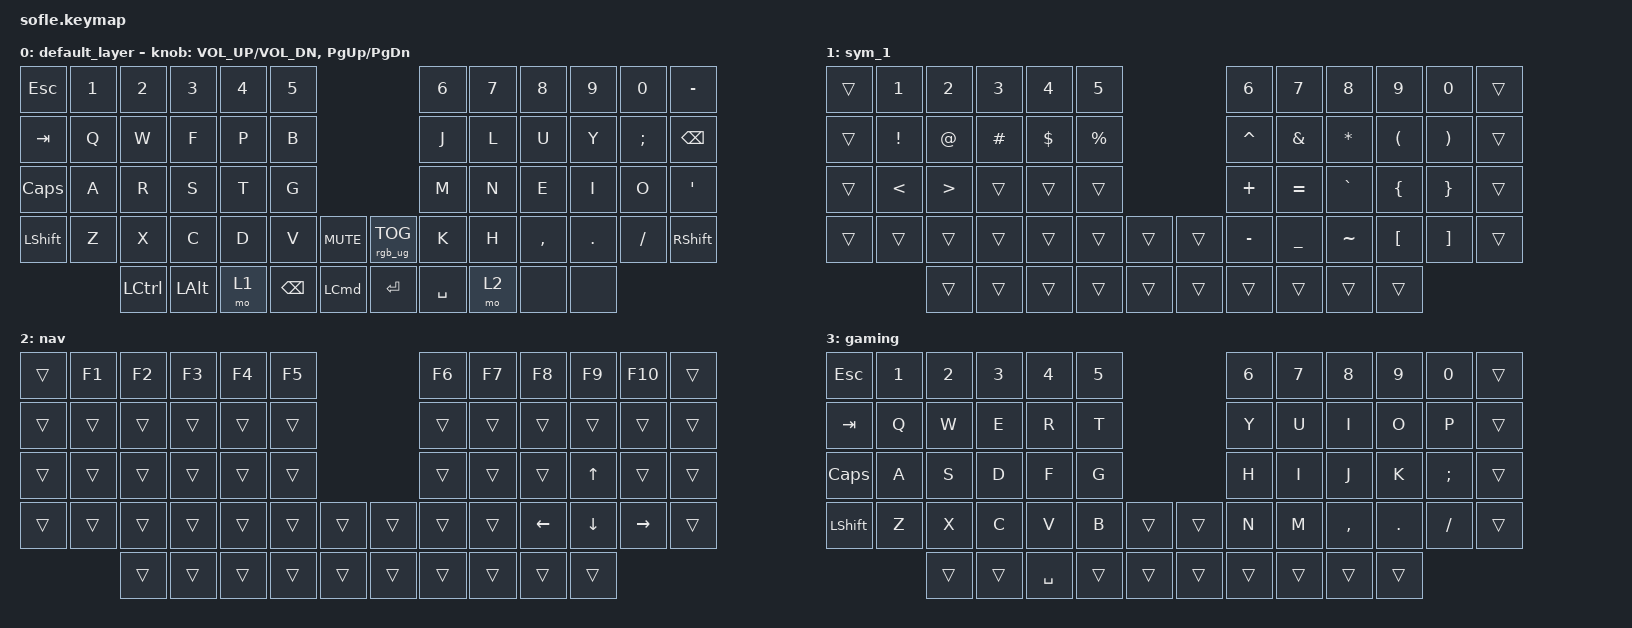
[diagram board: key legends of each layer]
/*
 * Copyright (c) 2020 The ZMK Contributors
 *
 * SPDX-License-Identifier: MIT
 */

#include <behaviors.dtsi>
#include <dt-bindings/zmk/keys.h>
#include <dt-bindings/zmk/rgb.h>

#define BASE 0
#define LOWER 1
#define RAISE 2
#define ADJUST 3

/ {
    // Activate ADJUST layer by pressing raise and lower

    conditional_layers {
        compatible = "zmk,conditional-layers";

        adjust_layer {
            if-layers = <1 1>;
            then-layer = <1>;
        };
    };

    keymap {
        compatible = "zmk,keymap";

        default_layer {
            // ------------------------------------------------------------------------------------------------------------
            // |   `   |  1  |  2  |  3   |  4   |  5   |                   |  6   |  7    |  8    |  9   |   0   |       |
            // |  ESC  |  Q  |  W  |  E   |  R   |  T   |                   |  Y   |  U    |  I    |  O   |   P   | BKSPC |
            // |  TAB  |  A  |  S  |  D   |  F   |  G   |                   |  H   |  J    |  K    |  L   |   ;   |   '   |
            // | SHIFT |  Z  |  X  |  C   |  V   |  B   |  MUTE  |  |       |  N   |  M    |  ,    |  .   |   /   | SHIFT |
            //               | GUI | ALT  | CTRL | LOWER|  ENTER |  | SPACE | RAISE| CTRL  | ALT   | GUI  |

            bindings = <
&kp ESC       &kp N1  &kp N2            &kp N3        &kp N4  &kp N5                                              &kp N6     &kp N7  &kp N8     &kp N9      &kp N0         &kp MINUS
&kp TAB       &kp Q   &kp W             &kp F         &kp P   &kp B                                               &kp J      &kp L   &kp U      &kp Y       &kp SEMICOLON  &kp BSPC
&kp CAPSLOCK  &kp A   &kp R             &kp S         &kp T   &kp G                                               &kp M      &kp N   &kp E      &kp I       &kp O          &kp SQT
&kp LSHFT     &kp Z   &kp X             &kp C         &kp D   &kp V          &kp C_MUTE          &rgb_ug RGB_TOG  &kp K      &kp H   &kp COMMA  &kp PERIOD  &kp FSLH       &kp RSHFT
                      &kp LEFT_CONTROL  &kp LEFT_ALT  &mo 1   &kp BACKSPACE  &kp LEFT_COMMAND    &kp ENTER        &kp SPACE  &mo 2   &none      &none
            >;

            sensor-bindings = <&inc_dec_kp C_VOL_UP C_VOL_DN &inc_dec_kp PG_UP PG_DN>;
        };

        sym_1 {
            bindings = <
&trans  &kp N1           &kp N2            &kp N3    &kp N4      &kp N5                         &kp N6     &kp N7          &kp N8        &kp N9                &kp N0                 &trans
&trans  &kp EXCLAMATION  &kp AT_SIGN       &kp HASH  &kp DOLLAR  &kp PERCENT                    &kp CARET  &kp AMPERSAND   &kp ASTERISK  &kp LEFT_PARENTHESIS  &kp RIGHT_PARENTHESIS  &trans
&trans  &kp LESS_THAN    &kp GREATER_THAN  &trans    &trans      &trans                         &kp PLUS   &kp EQUAL       &kp GRAVE     &kp LEFT_BRACE        &kp RIGHT_BRACE        &trans
&trans  &trans           &trans            &trans    &trans      &trans       &trans    &trans  &kp MINUS  &kp UNDERSCORE  &kp TILDE     &kp LEFT_BRACKET      &kp RIGHT_BRACKET      &trans
                         &trans            &trans    &trans      &trans       &trans    &trans  &trans     &trans          &trans        &trans
            >;
        };

        nav {
            bindings = <
&trans  &kp F1  &kp F2  &kp F3  &kp F4  &kp F5                    &kp F6  &kp F7  &kp F8    &kp F9        &kp F10    &trans
&trans  &trans  &trans  &trans  &trans  &trans                    &trans  &trans  &trans    &trans        &trans     &trans
&trans  &trans  &trans  &trans  &trans  &trans                    &trans  &trans  &trans    &kp UP_ARROW  &trans     &trans
&trans  &trans  &trans  &trans  &trans  &trans  &trans    &trans  &trans  &trans  &kp LEFT  &kp DOWN      &kp RIGHT  &trans
                &trans  &trans  &trans  &trans  &trans    &trans  &trans  &trans  &trans    &trans
            >;
        };

        gaming {
            bindings = <
&kp ESC       &kp N1  &kp N2  &kp N3  &kp N4     &kp N5                    &kp N6  &kp N7  &kp N8     &kp N9   &kp N0    &trans
&kp TAB       &kp Q   &kp W   &kp E   &kp R      &kp T                     &kp Y   &kp U   &kp I      &kp O    &kp P     &trans
&kp CAPSLOCK  &kp A   &kp S   &kp D   &kp F      &kp G                     &kp H   &kp I   &kp J      &kp K    &kp SEMI  &trans
&kp LSHFT     &kp Z   &kp X   &kp C   &kp V      &kp B   &trans    &trans  &kp N   &kp M   &kp COMMA  &kp DOT  &kp FSLH  &trans
                      &trans  &trans  &kp SPACE  &trans  &trans    &trans  &trans  &trans  &trans     &trans
            >;
        };
    };
};
